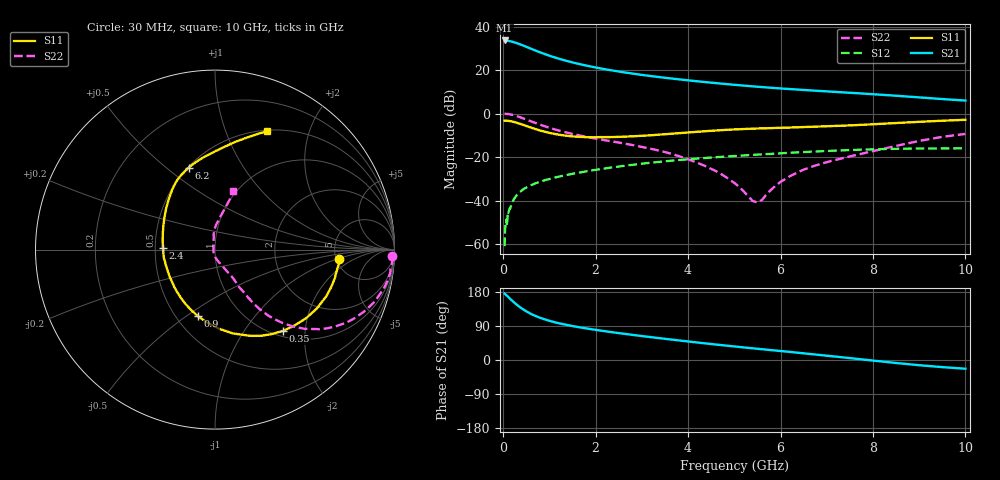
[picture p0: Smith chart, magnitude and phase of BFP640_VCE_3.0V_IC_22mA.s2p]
! (c) 2013  Infineon Technologies AG, Munich
! Infineon Technologies  Discrete & RF Semiconductors
! BFP640
! VCE =  3.0 V,  IC =  22 mA
! Common Emitter S-Parameters:  Apr 2013
# GHz  S  MA  R  50
!  f  S11  S21  S12  S22
! GHz  MAG  ANG  MAG  ANG  MAG  ANG  MAG  ANG
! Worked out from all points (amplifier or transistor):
!   99 points, 30 MHz to 10 GHz, reference 50 ohm
!   highest |S21| = 33.6 dB at 30 MHz (marker M1)
!   |S21| within 3 dB of that: start of sweep to 509.5 MHz
!   unconditionally stable (mu >= 1): 2.619 GHz to end of sweep
!   at 350 MHz: K = 0.30, MSG = 34.1 dB, |S12| = -36.3 dB
!   at 3.5 GHz: K = 1.04, MAG = 18.0 dB, |S12| = -21.9 dB
!   at 10 GHz: K = 1.07, MAG = 9.4 dB, |S12| = -15.9 dB
!   S11 on the Smith chart (normalised r, x): 30 MHz: 5.29, -1.06; 350 MHz: 1.10, -1.53; 900 MHz: 0.64, -0.56; 2.4 GHz: 0.55, +0.01; 6.2 GHz: 0.51, +0.60; 10 GHz: 0.51, +1.41
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0.03  0.6929 -4.3  47.99 175.4  0.0009 99.8  0.9851 -2.2
0.06  0.69 -8.9  47.86 171.9  0.0028 84.8  0.9873 -5.1
0.11  0.6821 -16.7  46.95 166.0  0.0052 86.4  0.9783 -10.0
0.2  0.6558 -30.0  44.68 155.7  0.0094 75.6  0.9359 -18.0
0.3  0.6122 -43.8  41.47 145.2  0.0137 72.0  0.8712 -25.7
0.35  0.5907 -50.1  39.59 140.6  0.0153 69.7  0.8373 -29.1
0.4  0.5656 -56.5  37.88 136.1  0.0171 68.2  0.8007 -32.1
0.45  0.544 -62.0  35.98 132.2  0.0188 66.8  0.767 -34.8
0.6  0.477 -78.1  31.02 121.7  0.0227 63.0  0.666 -41.5
0.7  0.4399 -87.5  28.1 116.1  0.0251 61.3  0.6085 -44.7
0.9  0.3832 -104.3  23.35 107.1  0.0295 59.1  0.5115 -49.4
1  0.3609 -112.0  21.43 103.4  0.0314 58.1  0.4723 -51.1
1.2  0.3288 -125.5  18.33 97.1  0.0356 56.9  0.4096 -53.3
1.7  0.2907 -153.4  13.37 85.3  0.0452 54.3  0.308 -55.5
2.4  0.2902 177.8  9.651 72.6  0.059 50.5  0.2256 -57.5
3.4  0.3305 149.0  6.864 57.3  0.0783 43.3  0.1387 -61.2
5.1  0.4376 119.2  4.5 34.5  0.1076 29.4  0.021 -109.8
5.5  0.4547 114.6  4.151 29.6  0.1142 26.2  0.0091 171.1
6.2  0.4784 107.9  3.669 21.4  0.1258 20.5  0.0363 101.9
6.7  0.4994 102.2  3.394 15.1  0.1341 15.9  0.0616 96.9
8.5  0.6075 79.8  2.575 -7.9  0.1553 -1.9  0.1812 81.3
10  0.7212 66.2  1.995 -23.0  0.1597 -13.6  0.3413 72.6
